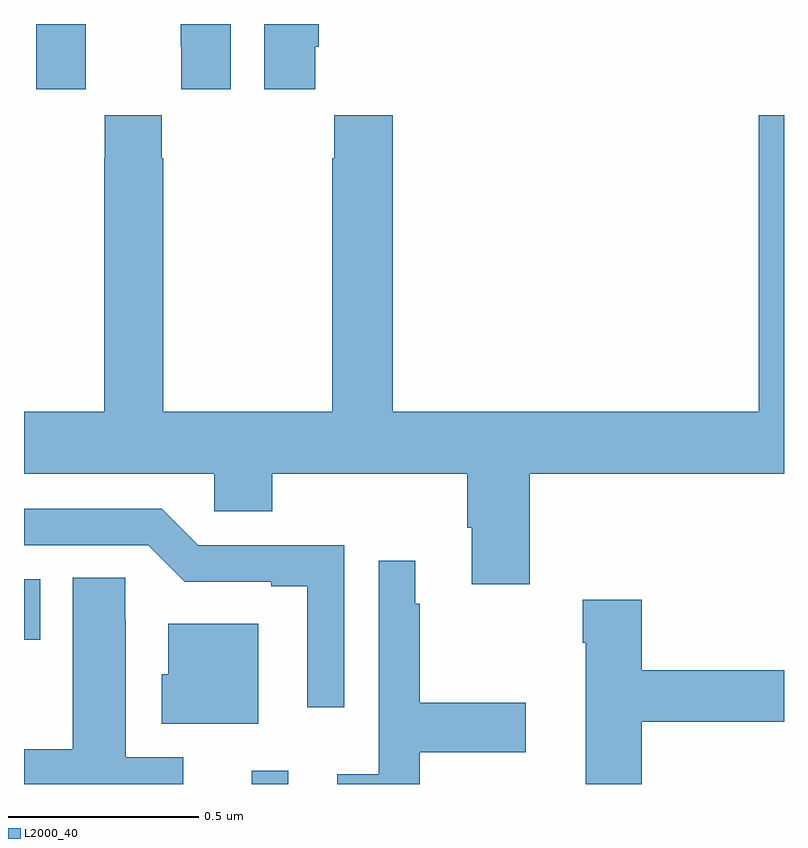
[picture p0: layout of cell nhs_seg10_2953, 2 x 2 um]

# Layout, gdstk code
import gdstk
lib = gdstk.Library(unit=1e-6, precision=1e-09)
def R(c, l, rs):  # rectangles x0, y0, x1, y1
    for r in rs: c.add(gdstk.rectangle(r[:2], r[2:], *l))
def P(c, l, *ps):  # polygons
    for p in ps: c.add(gdstk.Polygon(p, *l))
L2000_40 = (2000, 40)

nhs_seg10_2953 = lib.new_cell('nhs_seg10_2953')
R(nhs_seg10_2953, L2000_40, [(147.599,1299.5,147.696,1299.535), (147,1299.88,147.043,1300.039)])
P(nhs_seg10_2953, L2000_40, [(147.162,1301.44),(147.163,1301.44),(147.163,1301.5),(147.032,1301.5),(147.032,1301.328),(147.162,1301.328)],
  [(147.544,1301.5),(147.413,1301.5),(147.413,1301.44),(147.414,1301.44),(147.414,1301.328),(147.544,1301.328)],
  [(147.766,1301.44),(147.776,1301.44),(147.776,1301.5),(147.632,1301.5),(147.632,1301.328),(147.766,1301.328)],
  [(148.331,1300.316),(149,1300.316),(149,1301.26),(148.934,1301.26),(148.934,1300.48),(147.971,1300.48),(147.971,1301.26),(147.817,1301.26),(147.817,1301.147),(147.811,1301.147),(147.811,1300.48),(147.366,1300.48),(147.366,1301.147),(147.363,1301.147),(147.363,1301.26),(147.213,1301.26),(147.213,1301.147),(147.211,1301.147),(147.211,1300.48),(147,1300.48),(147,1300.316),(147.501,1300.316),(147.501,1300.218),(147.653,1300.218),(147.653,1300.316),(148.166,1300.316),(148.166,1300.174),(148.178,1300.174),(148.178,1300.026),(148.331,1300.026)],
  [(147.843,1300.128),(147.459,1300.128),(147.363,1300.224),(147,1300.224),(147,1300.128),(147.327,1300.128),(147.423,1300.032),(147.65,1300.032),(147.65,1300.02),(147.746,1300.02),(147.746,1299.702),(147.843,1299.702)],
  [(148.042,1299.584),(148.321,1299.584),(148.321,1299.714),(148.042,1299.714),(148.042,1299.974),(148.03,1299.974),(148.03,1300.087),(147.933,1300.087),(147.933,1299.526),(147.824,1299.526),(147.824,1299.5),(148.042,1299.5)],
  [(147.419,1299.57),(147.268,1299.57),(147.268,1299.932),(147.267,1299.932),(147.267,1300.043),(147.128,1300.043),(147.128,1299.591),(147,1299.591),(147,1299.5),(147.419,1299.5)],
  [(148.625,1299.664),(149,1299.664),(149,1299.8),(148.625,1299.8),(148.625,1299.985),(148.471,1299.985),(148.471,1299.872),(148.478,1299.872),(148.478,1299.5),(148.625,1299.5)],
  [(147.616,1299.922),(147.38,1299.922),(147.38,1299.789),(147.362,1299.789),(147.362,1299.659),(147.616,1299.659)])

lib.write_gds('nhs_seg10_2953.gds')
